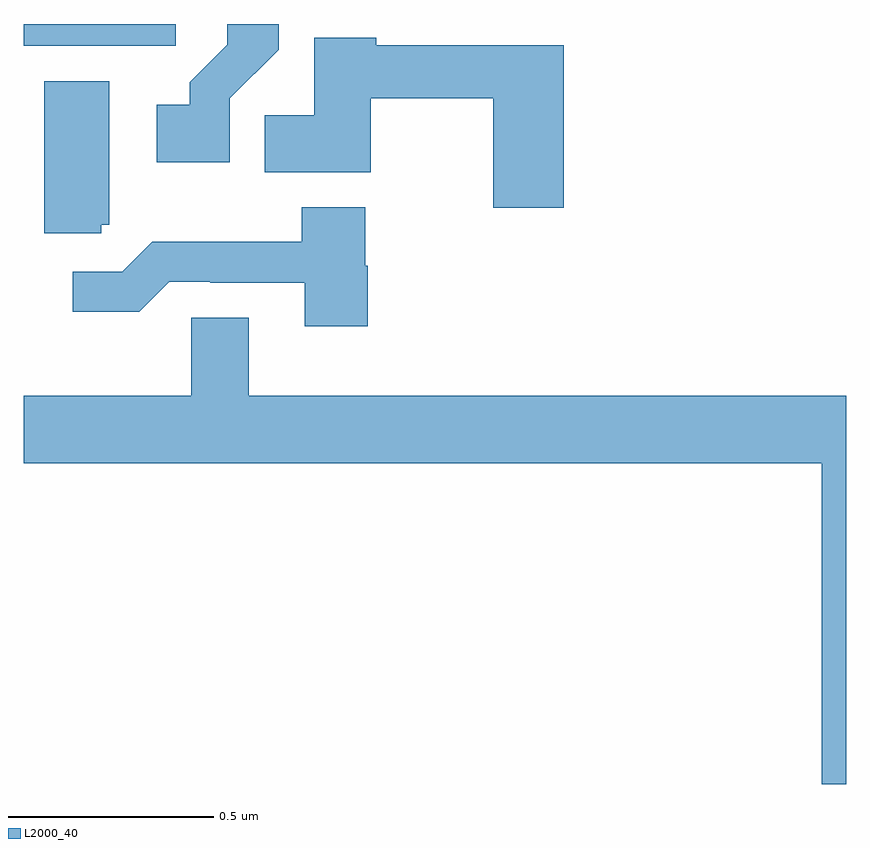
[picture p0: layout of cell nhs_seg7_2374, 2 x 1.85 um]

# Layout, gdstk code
import gdstk
lib = gdstk.Library(unit=1e-6, precision=1e-09)
def R(c, l, rs):  # rectangles x0, y0, x1, y1
    for r in rs: c.add(gdstk.rectangle(r[:2], r[2:], *l))
def P(c, l, *ps):  # polygons
    for p in ps: c.add(gdstk.Polygon(p, *l))
L2000_40 = (2000, 40)

nhs_seg7_2374 = lib.new_cell('nhs_seg7_2374')
R(nhs_seg7_2374, L2000_40, [(144,1018.947,144.37,1019)])
P(nhs_seg7_2374, L2000_40, [(144.501,1018.819),(144.62,1018.938),(144.62,1019),(144.495,1019),(144.495,1018.949),(144.404,1018.859),(144.404,1018.804),(144.324,1018.804),(144.324,1018.664),(144.501,1018.664)],
  [(145.313,1018.948),(144.857,1018.948),(144.857,1018.966),(144.707,1018.966),(144.707,1018.778),(144.586,1018.778),(144.586,1018.64),(144.844,1018.64),(144.844,1018.819),(145.142,1018.819),(145.142,1018.554),(145.313,1018.554)],
  [(144.189,1018.512),(144.208,1018.512),(144.208,1018.861),(144.05,1018.861),(144.05,1018.491),(144.189,1018.491)],
  [(144.836,1018.413),(144.831,1018.413),(144.831,1018.555),(144.676,1018.555),(144.676,1018.471),(144.313,1018.471),(144.24,1018.398),(144.12,1018.398),(144.12,1018.301),(144.281,1018.301),(144.354,1018.374),(144.454,1018.374),(144.454,1018.371),(144.683,1018.371),(144.683,1018.266),(144.836,1018.266)],
  [(146,1018.096),(144.547,1018.096),(144.547,1018.286),(144.408,1018.286),(144.408,1018.096),(144,1018.096),(144,1017.932),(145.94,1017.932),(145.94,1017.153),(146,1017.153)])

lib.write_gds('nhs_seg7_2374.gds')
